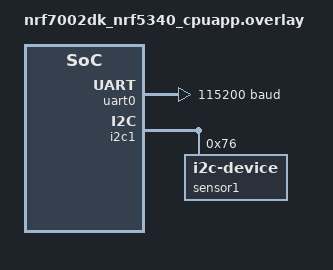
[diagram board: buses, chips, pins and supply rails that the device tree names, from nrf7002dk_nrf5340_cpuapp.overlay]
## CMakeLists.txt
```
# SPDX-License-Identifier: Apache-2.0

cmake_minimum_required(VERSION 3.20.0)
find_package(Zephyr REQUIRED HINTS $ENV{ZEPHYR_BASE})
project(BME680)

#set(CMAKE_CXX_STANDARD 17)
#set(CMAKE_CXX_STANDARD_REQUIRED ON)

target_sources(app PRIVATE src/main.cpp)
target_sources(app PRIVATE src/drivers/led.cpp)
target_sources(app PRIVATE src/drivers/uart.cpp)
target_sources(app PRIVATE src/drivers/Temp_Sens.cpp)
target_sources(app PRIVATE src/drivers/Pres_Sens.cpp)
```

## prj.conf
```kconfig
#I/O CONIFG SYSMBOLS
CONFIG_GPIO=y
CONFIG_I2C=y
CONFIG_UART_ASYNC_API=y

#DEBUG UTILITIES
CONFIG_LOG=y

#Enabling Floating Point Support
CONFIG_FPU=y


#Enabling C++ Support
CONFIG_CPP=y

#ENABLING LIBC++ SUPPORT AS Zephyr does not include any C++ standard library implementation in source code form. 
CONFIG_GLIBCXX_LIBCPP=y
#ENABLING C++17 SUPPORT
CONFIG_STD_CPP17=y
```

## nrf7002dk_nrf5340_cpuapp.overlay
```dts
// To get started, press Ctrl+Space to bring up the completion menu and view the available nodes.

// You can also use the buttons in the sidebar to perform actions on nodes.
// Actions currently available include:

// * Enabling / disabling the node
// * Adding the bus to a bus
// * Removing the node
// * Connecting ADC channels

// For more help, browse the DeviceTree documentation at https://docs.zephyrproject.org/latest/guides/dts/index.html
// You can also visit the nRF DeviceTree extension documentation at https://docs.nordicsemi.com/bundle/nrf-connect-vscode/page/guides/ncs_configure_app.html#devicetree-support-in-the-extension
&uart0 {
     current-speed = <115200>;
};

&i2c1{
     sensor1: sensor1@76 {     
     compatible = "i2c-device";
     status = "okay";
     reg = <0x76>;   
     };
};
```

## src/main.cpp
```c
#include <stdio.h> 
#include <zephyr/kernel.h>        /* For using kernel services as we are using k_msleep() function*/
#include <zephyr/drivers/gpio.h>  /* Contains structure gpio_dt_spec, the macros GPIO_DT_SPEC_GET(), and the functions, gpio_is_ready_dt(), gpio_pin_configure_dt() and gpio_pin_toggle_dt().*/
#include <string>

#include "drivers/led.hpp"
#include "drivers/uart.hpp"
#include "drivers/Temp_Sens.hpp"
#include "drivers/Pres_Sens.hpp"
/* 1000 msec = 1 sec */
#define SLEEP_TIME_MS   1000


/*
 * A build error on this line means your board is unsupported.
 * See the sample documentation for information on how to fix this.
 */

int main(void)
{
    float temp_buf{0.0f};
	float pres_buf{0.0f};
	Led led1(0);
	Uart uart1;
	led1.init();
	uart1.init();
	led1.set_delay(1000);
   

	auto& s1 = BME680::Temp_Sens::instance(); 
    auto &s2 = BME680::Pres_Sens::instance();
	while (1) 
	{  
		s1.CONFIG_MODE();
		s1.I2C_READ_SENS(&temp_buf);
		s2.I2C_READ_SENS(&pres_buf);
		printk("Temperature %.2f Celsius, Pressure : %.2f Pa \n", static_cast<double>(temp_buf),static_cast<double>(pres_buf));
		k_msleep(SLEEP_TIME_MS);
	}

	return 0;
}
```
